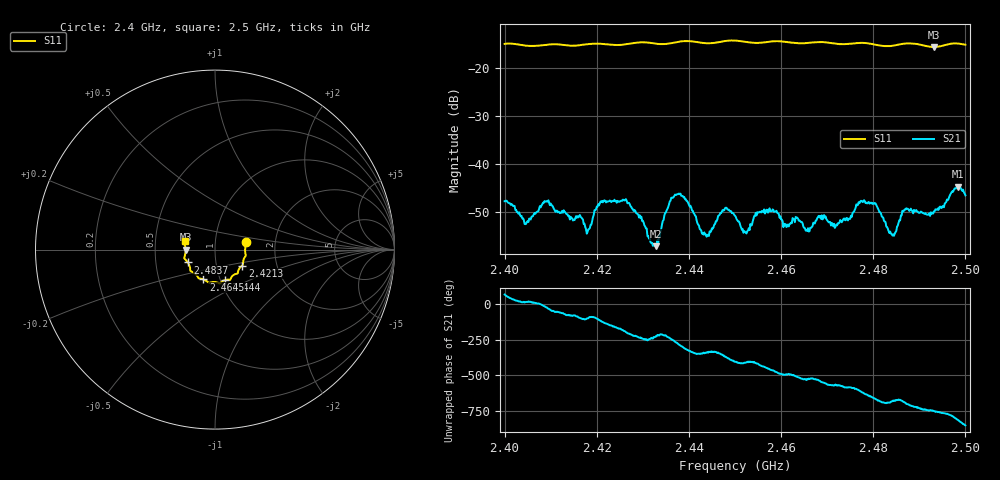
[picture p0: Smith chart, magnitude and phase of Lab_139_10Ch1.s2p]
# Hz S RI R 50
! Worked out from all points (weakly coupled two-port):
!   601 points, 2.4 GHz to 2.5 GHz, reference 50 ohm
!   highest |S21| = -44.66 dB at 2.4983 GHz (marker M1); lowest = -57.0 dB at 2.4328 GHz (marker M2)
!   lowest |S11| = -15.7 dB at 2.4932 GHz (marker M3), VSWR 1.39, Z = 35.9 - j0.0658 ohm
!   |S11| at or under -10 dB: start of sweep to end of sweep
!   S12 and S22 are empty: the file has one direction only
!   S11 on the Smith chart (normalised r, x): 2.4 GHz: 1.41, +0.12; 2.4213 GHz: 1.33, -0.25; 2.444 GHz: 1.06, -0.37; 2.4645 GHz: 0.83, -0.29; 2.4837 GHz: 0.73, -0.11; 2.5 GHz: 0.71, +0.07
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2.4e9  0.1713 0.0402  0.00176 0.00372  0 0  0 0
2.404667e9  0.1684 0.0131  0.00235 0.000547  0 0  0 0
2.409e9  0.17 -0.0254  0.00374 -0.00167  0 0  0 0
2.416667e9  0.1567 -0.07  -0.000594 -0.00273  0 0  0 0
2.418167e9  0.1556 -0.0799  -0.000384 -0.00207  0 0  0 0
2.421333e9  0.1518 -0.0894  -0.00244 -0.0032  0 0  0 0
2.426667e9  0.1293 -0.1189  -0.00354 0.0017  0 0  0 0
2.432833e9  0.1119 -0.1372  -0.000986 0.00101  0 0  0 0
2.433333e9  0.1083 -0.1385  -0.00118 0.000971  0 0  0 0
2.437667e9  0.0871 -0.1633  0.000938 0.00479  0 0  0 0
2.444e9  0.0582 -0.1688  0.0017 0.000708  0 0  0 0
2.45e9  0.0252 -0.1892  0.00209 -0.00203  0 0  0 0
2.452333e9  0.0154 -0.1842  0.00125 -0.0015  0 0  0 0
2.4645e9  -0.0657 -0.166  -0.00239 -0.00077  0 0  0 0
2.466667e9  -0.0826 -0.1621  -0.0021 -0.000724  0 0  0 0
2.477667e9  -0.1373 -0.1174  -0.000787 0.00397  0 0  0 0
2.483333e9  -0.1489 -0.0751  0.00174 0.00104  0 0  0 0
2.483667e9  -0.151 -0.0717  0.0017 0.00105  0 0  0 0
2.486833e9  -0.1697 -0.0511  0.00288 0.00178  0 0  0 0
2.493167e9  -0.1636 -0.000891  0.00287 -0.0015  0 0  0 0
2.498333e9  -0.1728 0.0419  3.92e-05 -0.00585  0 0  0 0
2.5e9  -0.1651 0.0504  -0.00297 -0.00371  0 0  0 0
